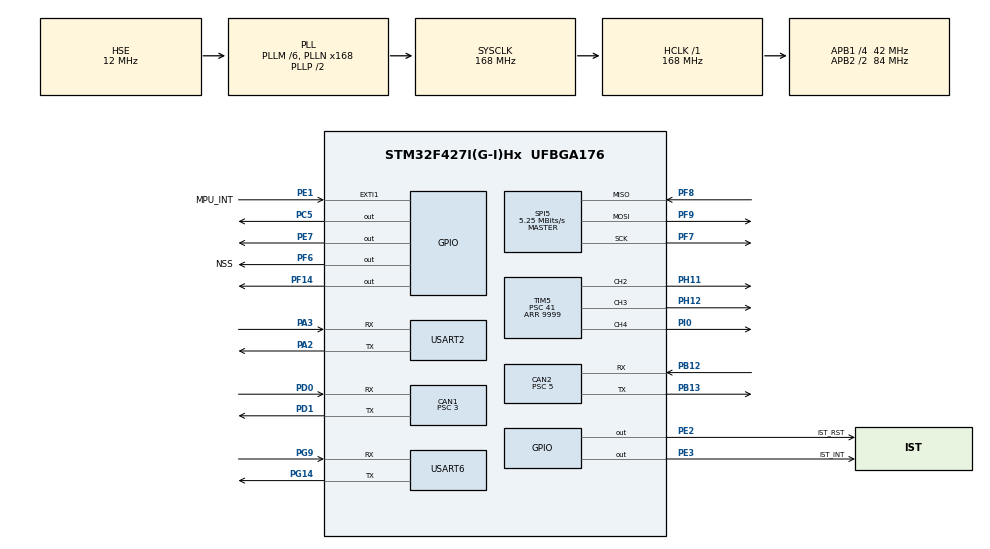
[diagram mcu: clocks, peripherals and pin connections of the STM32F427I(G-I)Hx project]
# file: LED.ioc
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CAN1.ABOM=ENABLE
CAN1.BS1=CAN_BS1_9TQ
CAN1.BS2=CAN_BS2_4TQ
CAN1.CalculateTimeBit=1000
CAN1.CalculateTimeQuantum=71.42857142857143
CAN1.Prescaler=3
CAN2.ABOM=ENABLE
CAN2.BS1=CAN_BS1_3TQ
CAN2.BS2=CAN_BS2_5TQ
CAN2.CalculateTimeBit=1071
CAN2.CalculateTimeQuantum=119.04761904761905
CAN2.Prescaler=5
CAN2.SJW=CAN_SJW_4TQ
Dma.Request0=USART2_RX
Dma.Request1=USART2_TX
Dma.Request2=USART6_RX
Dma.Request3=USART6_TX
Dma.USART2_RX.0.Direction=DMA_PERIPH_TO_MEMORY
Dma.USART2_RX.0.FIFOMode=DMA_FIFOMODE_DISABLE
Dma.USART2_RX.0.Instance=DMA1_Stream5
Dma.USART2_RX.0.MemDataAlignment=DMA_MDATAALIGN_BYTE
Dma.USART2_RX.0.MemInc=DMA_MINC_ENABLE
Dma.USART2_RX.0.Mode=DMA_NORMAL
Dma.USART2_RX.0.PeriphDataAlignment=DMA_PDATAALIGN_BYTE
Dma.USART2_RX.0.PeriphInc=DMA_PINC_DISABLE
Dma.USART2_RX.0.Priority=DMA_PRIORITY_LOW
Dma.USART2_TX.1.Direction=DMA_MEMORY_TO_PERIPH
Dma.USART2_TX.1.FIFOMode=DMA_FIFOMODE_DISABLE
Dma.USART2_TX.1.Instance=DMA1_Stream6
Dma.USART2_TX.1.MemDataAlignment=DMA_MDATAALIGN_BYTE
Dma.USART2_TX.1.MemInc=DMA_MINC_ENABLE
Dma.USART2_TX.1.Mode=DMA_NORMAL
Dma.USART2_TX.1.PeriphDataAlignment=DMA_PDATAALIGN_BYTE
Dma.USART2_TX.1.PeriphInc=DMA_PINC_DISABLE
Dma.USART2_TX.1.Priority=DMA_PRIORITY_LOW
Dma.USART6_RX.2.Direction=DMA_PERIPH_TO_MEMORY
Dma.USART6_RX.2.FIFOMode=DMA_FIFOMODE_DISABLE
Dma.USART6_RX.2.Instance=DMA2_Stream1
Dma.USART6_RX.2.MemDataAlignment=DMA_MDATAALIGN_BYTE
Dma.USART6_RX.2.MemInc=DMA_MINC_ENABLE
Dma.USART6_RX.2.Mode=DMA_NORMAL
Dma.USART6_RX.2.PeriphDataAlignment=DMA_PDATAALIGN_BYTE
Dma.USART6_RX.2.PeriphInc=DMA_PINC_DISABLE
Dma.USART6_RX.2.Priority=DMA_PRIORITY_HIGH
Dma.USART6_TX.3.Direction=DMA_MEMORY_TO_PERIPH
Dma.USART6_TX.3.FIFOMode=DMA_FIFOMODE_DISABLE
Dma.USART6_TX.3.Instance=DMA2_Stream6
Dma.USART6_TX.3.MemDataAlignment=DMA_MDATAALIGN_BYTE
Dma.USART6_TX.3.MemInc=DMA_MINC_ENABLE
Dma.USART6_TX.3.Mode=DMA_NORMAL
Dma.USART6_TX.3.PeriphDataAlignment=DMA_PDATAALIGN_BYTE
Dma.USART6_TX.3.PeriphInc=DMA_PINC_DISABLE
Dma.USART6_TX.3.Priority=DMA_PRIORITY_MEDIUM
FREERTOS.Tasks01=LED0,0,128,Func_LED0,Default,NULL,Dynamic,NULL,NULL;update,0,128,updatefun,Default,NULL,Dynamic,NULL,NULL;myTask03,2,128,StartDefaultTask,Default,NULL,Dynamic,NULL,NULL;PrintName,1,128,PrintFunc,Default,NULL,Dynamic,NULL,NULL;WG,2,128,WGFun,Default,NULL,Dynamic,NULL,NULL;IMU,-3,128,IMUFun,Default,NULL,Dynamic,NULL,NULL;Shooting,-3,128,Shootingfun,Default,NULL,Dynamic,NULL,NULL
FREERTOS.configUSE_STATS_FORMATTING_FUNCTIONS=1
FREERTOS.configUSE_TRACE_FACILITY=1
Mcu.Family=STM32F4
Mcu.Name=STM32F427I(G-I)Hx
Mcu.Package=UFBGA176
NVIC.CAN1_RX0_IRQn=true\:7\:0\:true\:false\:true\:true\:true
NVIC.CAN1_TX_IRQn=true\:8\:0\:true\:false\:true\:true\:true
NVIC.CAN2_RX0_IRQn=true\:8\:0\:true\:false\:true\:true\:true
NVIC.CAN2_TX_IRQn=true\:9\:0\:true\:false\:true\:true\:true
NVIC.DMA1_Stream5_IRQn=true\:5\:0\:false\:false\:true\:true\:false
NVIC.DMA1_Stream6_IRQn=true\:5\:0\:false\:false\:true\:true\:false
NVIC.DMA2_Stream1_IRQn=true\:5\:0\:false\:false\:true\:true\:false
NVIC.DMA2_Stream6_IRQn=true\:10\:0\:true\:false\:true\:true\:false
NVIC.PVD_IRQn=true\:10\:0\:true\:false\:true\:true\:true
NVIC.PriorityGroup=NVIC_PRIORITYGROUP_4
NVIC.TIM3_IRQn=true\:6\:0\:true\:false\:true\:true\:true
NVIC.TIM4_IRQn=true\:0\:0\:false\:false\:true\:false\:false
NVIC.TimeBase=TIM4_IRQn
NVIC.TimeBaseIP=TIM4
NVIC.WWDG_IRQn=true\:5\:0\:false\:false\:true\:true\:true
PA2.Mode=Asynchronous
PA2.Signal=USART2_TX
PA3.Mode=Asynchronous
PA3.Signal=USART2_RX
PB12.Mode=Slave
PB12.Signal=CAN2_RX
PB13.Mode=Slave
PB13.Signal=CAN2_TX
PC5.Signal=GPIO_Output
PD0.Mode=Master
PD0.Signal=CAN1_RX
PD1.Mode=Master
PD1.Signal=CAN1_TX
PE1.GPIO_Label=MPU_INT
PE1.Signal=GPXTI1
PE2.GPIO_Label=IST_RST
PE2.Signal=GPIO_Output
PE3.GPIO_Label=IST_INT
PE3.Signal=GPIO_Output
PE7.Signal=GPIO_Output
PF14.Signal=GPIO_Output
PF6.GPIO_Label=NSS
PF6.Signal=GPIO_Output
PF7.Mode=Full_Duplex_Master
PF7.Signal=SPI5_SCK
PF8.Mode=Full_Duplex_Master
PF8.Signal=SPI5_MISO
PF9.Mode=Full_Duplex_Master
PF9.Signal=SPI5_MOSI
PG14.Mode=Asynchronous
PG14.Signal=USART6_TX
PG9.Mode=Asynchronous
PG9.Signal=USART6_RX
PH0/OSC_IN.Mode=HSE-External-Oscillator
PH0/OSC_IN.Signal=RCC_OSC_IN
PH1/OSC_OUT.Mode=HSE-External-Oscillator
PH1/OSC_OUT.Signal=RCC_OSC_OUT
PH11.Signal=S_TIM5_CH2
PH12.Signal=S_TIM5_CH3
PI0.Signal=S_TIM5_CH4
ProjectManager.HeapSize=0x200
ProjectManager.StackSize=0x400
ProjectManager.TargetToolchain=MDK-ARM V5
RCC.48MHZClocksFreq_Value=48000000
RCC.AHBFreq_Value=168000000
RCC.APB1CLKDivider=RCC_HCLK_DIV4
RCC.APB1Freq_Value=42000000
RCC.APB1TimFreq_Value=84000000
RCC.APB2CLKDivider=RCC_HCLK_DIV2
RCC.APB2Freq_Value=84000000
RCC.APB2TimFreq_Value=168000000
RCC.CortexFreq_Value=168000000
RCC.HCLKFreq_Value=168000000
RCC.HSE_VALUE=12000000
RCC.HSI_VALUE=16000000
RCC.LSE_VALUE=32768
RCC.PLLM=6
RCC.PLLN=168
RCC.PLLQ=7
RCC.PLLSourceVirtual=RCC_PLLSOURCE_HSE
RCC.SYSCLKFreq_VALUE=168000000
RCC.SYSCLKSource=RCC_SYSCLKSOURCE_PLLCLK
RCC.VCOOutputFreq_Value=336000000
SH.S_TIM5_CH2.0=TIM5_CH2,PWM Generation2 CH2
SH.S_TIM5_CH3.0=TIM5_CH3,PWM Generation3 CH3
SH.S_TIM5_CH4.0=TIM5_CH4,PWM Generation4 CH4
SPI5.BaudRatePrescaler=SPI_BAUDRATEPRESCALER_16
SPI5.CalculateBaudRate=5.25 MBits/s
SPI5.Direction=SPI_DIRECTION_2LINES
SPI5.Mode=SPI_MODE_MASTER
SPI5.VirtualType=VM_MASTER
TIM3.Period=42000
TIM5.Channel-PWM\ Generation2\ CH2=TIM_CHANNEL_2
TIM5.Channel-PWM\ Generation3\ CH3=TIM_CHANNEL_3
TIM5.Channel-PWM\ Generation4\ CH4=TIM_CHANNEL_4
TIM5.Period=9999
TIM5.Prescaler=41
USART2.VirtualMode=VM_ASYNC
USART6.VirtualMode=VM_ASYNC
VP_CRC_VS_CRC.Mode=CRC_Activate
VP_FREERTOS_VS_ENABLE.Mode=Enabled
VP_SYS_VS_tim4.Mode=TIM4
VP_TIM3_VS_ClockSourceINT.Mode=Internal
VP_TIM5_VS_ClockSourceINT.Mode=Internal
VP_WWDG_VS_WWDG.Mode=WWDG_Activate
WWDG.Counter=127
WWDG.EWIMode=WWDG_EWI_ENABLE
WWDG.Prescaler=WWDG_PRESCALER_8
WWDG.Window=80
board=LED

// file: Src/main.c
/**
  ******************************************************************************
  * File Name          : main.c
  * Description        : Main program body
  ******************************************************************************
  * This notice applies to any and all portions of this file
  * that are not between comment pairs USER CODE BEGIN and
  * USER CODE END. Other portions of this file, whether
  * inserted by the user or by software development tools
  * are owned by their respective copyright owners.
  *
  * Copyright (c) 2018 STMicroelectronics International N.V.
  * All rights reserved.
  *
  * Redistribution and use in source and binary forms, with or without
  * modification, are permitted, provided that the following conditions are met:
  *
  * 1. Redistribution of source code must retain the above copyright notice,
  *    this list of conditions and the following disclaimer.
  * 2. Redistributions in binary form must reproduce the above copyright notice,
  *    this list of conditions and the following disclaimer in the documentation
  *    and/or other materials provided with the distribution.
  * 3. Neither the name of STMicroelectronics nor the names of other
  *    contributors to this software may be used to endorse or promote products
  *    derived from this software without specific written permission.
  * 4. This software, including modifications and/or derivative works of this
  *    software, must execute solely and exclusively on microcontroller or
  *    microprocessor devices manufactured by or for STMicroelectronics.
  * 5. Redistribution and use of this software other than as permitted under
  *    this license is void and will automatically terminate your rights under
  *    this license.
  *
  * THIS SOFTWARE IS PROVIDED BY STMICROELECTRONICS AND CONTRIBUTORS "AS IS"
  * AND ANY EXPRESS, IMPLIED OR STATUTORY WARRANTIES, INCLUDING, BUT NOT
  * LIMITED TO, THE IMPLIED WARRANTIES OF MERCHANTABILITY, FITNESS FOR A
  * PARTICULAR PURPOSE AND NON-INFRINGEMENT OF THIRD PARTY INTELLECTUAL PROPERTY
  * RIGHTS ARE DISCLAIMED TO THE FULLEST EXTENT PERMITTED BY LAW. IN NO EVENT
  * SHALL STMICROELECTRONICS OR CONTRIBUTORS BE LIABLE FOR ANY DIRECT, INDIRECT,
  * INCIDENTAL, SPECIAL, EXEMPLARY, OR CONSEQUENTIAL DAMAGES (INCLUDING, BUT NOT
  * LIMITED TO, PROCUREMENT OF SUBSTITUTE GOODS OR SERVICES; LOSS OF USE, DATA,
  * OR PROFITS; OR BUSINESS INTERRUPTION) HOWEVER CAUSED AND ON ANY THEORY OF
  * LIABILITY, WHETHER IN CONTRACT, STRICT LIABILITY, OR TORT (INCLUDING
  * NEGLIGENCE OR OTHERWISE) ARISING IN ANY WAY OUT OF THE USE OF THIS SOFTWARE,
  * EVEN IF ADVISED OF THE POSSIBILITY OF SUCH DAMAGE.
  *
  ******************************************************************************
  */

#include "main.h"
#include "stm32f4xx_hal.h"
#include "cmsis_os.h"

/* USER CODE BEGIN Includes */
#include "bsp_can.h"
#include "pid.h"
#include "usart.h"
#include "test_imu.h"
#include "mpu6500_reg.h"
/* USER CODE END Includes */

CAN_HandleTypeDef hcan1;
CAN_HandleTypeDef hcan2;

CRC_HandleTypeDef hcrc;

SPI_HandleTypeDef hspi5;

TIM_HandleTypeDef htim3;
TIM_HandleTypeDef htim5;

UART_HandleTypeDef huart2;
UART_HandleTypeDef huart6;
DMA_HandleTypeDef hdma_usart2_rx;
DMA_HandleTypeDef hdma_usart2_tx;
DMA_HandleTypeDef hdma_usart6_rx;
DMA_HandleTypeDef hdma_usart6_tx;

WWDG_HandleTypeDef hwwdg;

osThreadId LED0Handle;
osThreadId updateHandle;
osThreadId myTask03Handle;
osThreadId PrintNameHandle;
osThreadId WGHandle;
osThreadId IMUHandle;
osThreadId ShootingHandle;

/* USER CODE BEGIN PV */
/* Private variables ---------------------------------------------------------*/
#define setbit(x,y) x|=(1<<y) //将X的第Y位置1
#define clrbit(x,y) x&=~(1<<y) //将X的第Y位清0
//PID_TypeDef motor_pid[4];
PID_TypeDef could_pid;
PID_TypeDef moto_pid;
uint8_t state_flag=0;
int speed_step_sign = +1;
char InfoBuffer[1000];
uint16_t TIM_COUNT[2];

#define SpeedStep 500
/* USER CODE END PV */

void SystemClock_Config(void);
static void MX_GPIO_Init(void);
static void MX_DMA_Init(void);
static void MX_CAN1_Init(void);
static void MX_CAN2_Init(void);
static void MX_USART2_UART_Init(void);
static void MX_CRC_Init(void);
static void MX_TIM5_Init(void);
static void MX_USART6_UART_Init(void);
static void MX_SPI5_Init(void);
static void MX_TIM3_Init(void);
static void MX_WWDG_Init(void);
void uartTask(void const * argument);
void updatefun(void const * argument);
void yawTask(void const * argument);
void PrintFunc(void const * argument);
void WGFun(void const * argument);
void IMUFun(void const * argument);
void pitchTask(void const * argument);

void HAL_TIM_MspPostInit(TIM_HandleTypeDef *htim);

/* USER CODE BEGIN PFP */
/* Private function prototypes -----------------------------------------------*/
uint32_t map(uint32_t val, uint32_t I_Min, uint32_t I_Max, uint32_t O_Min, uint32_t O_Max){
    return(val/(I_Max-I_Min)*(O_Max-O_Min) + O_Min);
}
/* USER CODE END PFP */

/* USER CODE BEGIN 0 */

void HAL_PWR_PVDCallback(void)
{

}
/* USER CODE END 0 */

int main(void)
{

  /* USER CODE BEGIN 1 */
/*这代码有很多需要改的地方，不如云台yaw轴控制在偏移小角度的时候一卡一卡的，或许可以通过调PID来改善。舵机的控制也不是很好，不都到时候这个是要换成6623的*/

  /* USER CODE END 1 */

  /* MCU Configuration----------------------------------------------------------*/

  /* Reset of all peripherals, Initializes the Flash interface and the Systick. */
  HAL_Init();

  /* Configure the system clock */
  SystemClock_Config();

  /* Initialize all configured peripherals */
  MX_GPIO_Init();
  MX_DMA_Init();
  MX_CAN1_Init();
  MX_CAN2_Init();
  MX_USART2_UART_Init();
  MX_CRC_Init();
  MX_TIM5_Init();
  MX_USART6_UART_Init();
  MX_SPI5_Init();
  MX_TIM3_Init();
 // MX_WWDG_Init();

  /* USER CODE BEGIN 2 */
	//HAL_WWDG_Start_IT(&hwwdg);

	IMU_init();
	HAL_GPIO_WritePin(GPIOE, IST_RST_Pin, GPIO_PIN_SET);
	MPU6500_Init();
	IST8310_Init();
	Init_Quaternion();
	HAL_TIM_Base_Start_IT(&htim5);
	HAL_TIM_Base_Start_IT(&htim3);
	HAL_TIM_PWM_Start(&htim5,TIM_CHANNEL_4);
	HAL_TIM_PWM_Start(&htim5,TIM_CHANNEL_3);
	HAL_TIM_PWM_Start(&htim5,TIM_CHANNEL_2);

	HAL_Delay(1000);
	__HAL_TIM_SetCompare(&htim5,TIM_CHANNEL_2,0x3C*9999/255);
	HAL_Delay(3000);
	__HAL_TIM_SetCompare(&htim5,TIM_CHANNEL_3,0x3C*9999/255);
	HAL_Delay(3000);

	my_can_filter_init_recv_all(&hcan1);     //配置CAN过滤器
  HAL_CAN_Receive_IT(&hcan1, CAN_FIFO0);   //启动CAN接收中断

  pid_init(&moto_pid);
  moto_pid.f_param_init(&moto_pid,PID_Speed,16384,5000,10,0,8000,0,1.5f,0.1f,0);

	pid_init(&could_pid);
  could_pid.f_param_init(&could_pid,PID_Position,5000,5000,10,1,5000,3500, 0.2f,0.0f,1.2f);
  //__HAL_UART_ENABLE_IT(&huart2, UART_IT_IDLE);
	//HAL_WWDG_Start_IT(&hwwdg);
	//MX_WWDG_Init();
  /* USER CODE END 2 */

  /* Create the thread(s) */
  /* definition and creation of LED0 */
  osThreadDef(LED0, uartTask, osPriorityNormal, 0, 128);
  LED0Handle = osThreadCreate(osThread(LED0), NULL);

  /* definition and creation of update */
  osThreadDef(update, updatefun, osPriorityNormal, 0, 128);
  updateHandle = osThreadCreate(osThread(update), NULL);

  /* definition and creation of myTask03 */
  osThreadDef(myTask03, yawTask, osPriorityHigh, 0, 128);
  myTask03Handle = osThreadCreate(osThread(myTask03), NULL);

  /* definition and creation of PrintName */
  osThreadDef(PrintName, PrintFunc, osPriorityAboveNormal, 0, 128);
  PrintNameHandle = osThreadCreate(osThread(PrintName), NULL);

  /* definition and creation of WG */
  osThreadDef(WG, WGFun, osPriorityHigh, 0, 128);
  WGHandle = osThreadCreate(osThread(WG), NULL);

  /* definition and creation of IMU */
  osThreadDef(IMU, IMUFun, osPriorityIdle, 0, 128);
  IMUHandle = osThreadCreate(osThread(IMU), NULL);

  /* definition and creation of Shooting */
  osThreadDef(Shooting, pitchTask, osPriorityIdle, 0, 128);
  ShootingHandle = osThreadCreate(osThread(Shooting), NULL);

  /* USER CODE BEGIN RTOS_QUEUES */
  /* add queues, ... */
	//  MX_WWDG_Init();
  /* USER CODE END RTOS_QUEUES */

  /* Start scheduler */
  osKernelStart();
	could_pid.target = 3500;
  /* We should never get here as control is now taken by the scheduler */

  /* Infinite loop */
  while (1)
  {

  }

}

/** System Clock Configuration
*/
void SystemClock_Config(void)
{

  RCC_OscInitTypeDef RCC_OscInitStruct;
  RCC_ClkInitTypeDef RCC_ClkInitStruct;

    /**Configure the main internal regulator output voltage
    */
  __HAL_RCC_PWR_CLK_ENABLE();

  __HAL_PWR_VOLTAGESCALING_CONFIG(PWR_REGULATOR_VOLTAGE_SCALE1);

    /**Initializes the CPU, AHB and APB busses clocks
    */
  RCC_OscInitStruct.OscillatorType = RCC_OSCILLATORTYPE_HSE;
  RCC_OscInitStruct.HSEState = RCC_HSE_ON;
  RCC_OscInitStruct.PLL.PLLState = RCC_PLL_ON;
  RCC_OscInitStruct.PLL.PLLSource = RCC_PLLSOURCE_HSE;
  RCC_OscInitStruct.PLL.PLLM = 6;
  RCC_OscInitStruct.PLL.PLLN = 168;
  RCC_OscInitStruct.PLL.PLLP = RCC_PLLP_DIV2;
  RCC_OscInitStruct.PLL.PLLQ = 7;
  if (HAL_RCC_OscConfig(&RCC_OscInitStruct) != HAL_OK)
  {
    _Error_Handler(__FILE__, __LINE__);
  }

    /**Initializes the CPU, AHB and APB busses clocks
    */
  RCC_ClkInitStruct.ClockType = RCC_CLOCKTYPE_HCLK|RCC_CLOCKTYPE_SYSCLK
                              |RCC_CLOCKTYPE_PCLK1|RCC_CLOCKTYPE_PCLK2;
  RCC_ClkInitStruct.SYSCLKSource = RCC_SYSCLKSOURCE_PLLCLK;
  RCC_ClkInitStruct.AHBCLKDivider = RCC_SYSCLK_DIV1;
  RCC_ClkInitStruct.APB1CLKDivider = RCC_HCLK_DIV4;
  RCC_ClkInitStruct.APB2CLKDivider = RCC_HCLK_DIV2;

  if (HAL_RCC_ClockConfig(&RCC_ClkInitStruct, FLASH_LATENCY_5) != HAL_OK)
  {
    _Error_Handler(__FILE__, __LINE__);
  }

    /**Configure the Systick interrupt time
    */
  HAL_SYSTICK_Config(HAL_RCC_GetHCLKFreq()/1000);

    /**Configure the Systick
    */
  HAL_SYSTICK_CLKSourceConfig(SYSTICK_CLKSOURCE_HCLK);

  /* SysTick_IRQn interrupt configuration */
  HAL_NVIC_SetPriority(SysTick_IRQn, 15, 0);
}

/* CAN1 init function */
static void MX_CAN1_Init(void)
{

  hcan1.Instance = CAN1;
  hcan1.Init.Prescaler = 3;
  hcan1.Init.Mode = CAN_MODE_NORMAL;
  hcan1.Init.SJW = CAN_SJW_1TQ;
  hcan1.Init.BS1 = CAN_BS1_9TQ;
  hcan1.Init.BS2 = CAN_BS2_4TQ;
  hcan1.Init.TTCM = DISABLE;
  hcan1.Init.ABOM = ENABLE;
  hcan1.Init.AWUM = DISABLE;
  hcan1.Init.NART = DISABLE;
  hcan1.Init.RFLM = DISABLE;
  hcan1.Init.TXFP = DISABLE;
  if (HAL_CAN_Init(&hcan1) != HAL_OK)
  {
    _Error_Handler(__FILE__, __LINE__);
  }

}

/* CAN2 init function */
static void MX_CAN2_Init(void)
{

  hcan2.Instance = CAN2;
  hcan2.Init.Prescaler = 5;
  hcan2.Init.Mode = CAN_MODE_NORMAL;
  hcan2.Init.SJW = CAN_SJW_4TQ;
  hcan2.Init.BS1 = CAN_BS1_3TQ;
  hcan2.Init.BS2 = CAN_BS2_5TQ;
  hcan2.Init.TTCM = DISABLE;
  hcan2.Init.ABOM = ENABLE;
  hcan2.Init.AWUM = DISABLE;
  hcan2.Init.NART = DISABLE;
  hcan2.Init.RFLM = DISABLE;
  hcan2.Init.TXFP = DISABLE;
  if (HAL_CAN_Init(&hcan2) != HAL_OK)
  {
    _Error_Handler(__FILE__, __LINE__);
  }

}

/* CRC init function */
static void MX_CRC_Init(void)
{

  hcrc.Instance = CRC;
  if (HAL_CRC_Init(&hcrc) != HAL_OK)
  {
    _Error_Handler(__FILE__, __LINE__);
  }

}

/* SPI5 init function */
static void MX_SPI5_Init(void)
{

  /* SPI5 parameter configuration*/
  hspi5.Instance = SPI5;
  hspi5.Init.Mode = SPI_MODE_MASTER;
  hspi5.Init.Direction = SPI_DIRECTION_2LINES;
  hspi5.Init.DataSize = SPI_DATASIZE_8BIT;
  hspi5.Init.CLKPolarity = SPI_POLARITY_LOW;
  hspi5.Init.CLKPhase = SPI_PHASE_1EDGE;
  hspi5.Init.NSS = SPI_NSS_SOFT;
  hspi5.Init.BaudRatePrescaler = SPI_BAUDRATEPRESCALER_16;
  hspi5.Init.FirstBit = SPI_FIRSTBIT_MSB;
  hspi5.Init.TIMode = SPI_TIMODE_DISABLE;
  hspi5.Init.CRCCalculation = SPI_CRCCALCULATION_DISABLE;
  hspi5.Init.CRCPolynomial = 10;
  if (HAL_SPI_Init(&hspi5) != HAL_OK)
  {
    _Error_Handler(__FILE__, __LINE__);
  }

}

/* TIM3 init function */
static void MX_TIM3_Init(void)
{

  TIM_ClockConfigTypeDef sClockSourceConfig;
  TIM_MasterConfigTypeDef sMasterConfig;

  htim3.Instance = TIM3;
  htim3.Init.Prescaler = 0;
  htim3.Init.CounterMode = TIM_COUNTERMODE_UP;
  htim3.Init.Period = 42000;
  htim3.Init.ClockDivision = TIM_CLOCKDIVISION_DIV1;
  if (HAL_TIM_Base_Init(&htim3) != HAL_OK)
  {
    _Error_Handler(__FILE__, __LINE__);
  }

  sClockSourceConfig.ClockSource = TIM_CLOCKSOURCE_INTERNAL;
  if (HAL_TIM_ConfigClockSource(&htim3, &sClockSourceConfig) != HAL_OK)
  {
    _Error_Handler(__FILE__, __LINE__);
  }

  sMasterConfig.MasterOutputTrigger = TIM_TRGO_RESET;
  sMasterConfig.MasterSlaveMode = TIM_MASTERSLAVEMODE_DISABLE;
  if (HAL_TIMEx_MasterConfigSynchronization(&htim3, &sMasterConfig) != HAL_OK)
  {
    _Error_Handler(__FILE__, __LINE__);
  }

}

/* TIM5 init function */
static void MX_TIM5_Init(void)
{

  TIM_ClockConfigTypeDef sClockSourceConfig;
  TIM_MasterConfigTypeDef sMasterConfig;
  TIM_OC_InitTypeDef sConfigOC;

  htim5.Instance = TIM5;
  htim5.Init.Prescaler = 41;
  htim5.Init.CounterMode = TIM_COUNTERMODE_UP;
  htim5.Init.Period = 9999;
  htim5.Init.ClockDivision = TIM_CLOCKDIVISION_DIV1;
  if (HAL_TIM_Base_Init(&htim5) != HAL_OK)
  {
    _Error_Handler(__FILE__, __LINE__);
  }

  sClockSourceConfig.ClockSource = TIM_CLOCKSOURCE_INTERNAL;
  if (HAL_TIM_ConfigClockSource(&htim5, &sClockSourceConfig) != HAL_OK)
  {
    _Error_Handler(__FILE__, __LINE__);
  }

  if (HAL_TIM_PWM_Init(&htim5) != HAL_OK)
  {
    _Error_Handler(__FILE__, __LINE__);
  }

  sMasterConfig.MasterOutputTrigger = TIM_TRGO_RESET;
  sMasterConfig.MasterSlaveMode = TIM_MASTERSLAVEMODE_DISABLE;
  if (HAL_TIMEx_MasterConfigSynchronization(&htim5, &sMasterConfig) != HAL_OK)
  {
    _Error_Handler(__FILE__, __LINE__);
  }

  sConfigOC.OCMode = TIM_OCMODE_PWM1;
  sConfigOC.Pulse = 0;
  sConfigOC.OCPolarity = TIM_OCPOLARITY_HIGH;
  sConfigOC.OCFastMode = TIM_OCFAST_DISABLE;
  if (HAL_TIM_PWM_ConfigChannel(&htim5, &sConfigOC, TIM_CHANNEL_2) != HAL_OK)
  {
    _Error_Handler(__FILE__, __LINE__);
  }

  if (HAL_TIM_PWM_ConfigChannel(&htim5, &sConfigOC, TIM_CHANNEL_3) != HAL_OK)
  {
    _Error_Handler(__FILE__, __LINE__);
  }

  if (HAL_TIM_PWM_ConfigChannel(&htim5, &sConfigOC, TIM_CHANNEL_4) != HAL_OK)
  {
    _Error_Handler(__FILE__, __LINE__);
  }

  HAL_TIM_MspPostInit(&htim5);

}

/* USART2 init function */
static void MX_USART2_UART_Init(void)
{

  huart2.Instance = USART2;
  huart2.Init.BaudRate = 115200;
  huart2.Init.WordLength = UART_WORDLENGTH_8B;
  huart2.Init.StopBits = UART_STOPBITS_1;
  huart2.Init.Parity = UART_PARITY_NONE;
  huart2.Init.Mode = UART_MODE_TX_RX;
  huart2.Init.HwFlowCtl = UART_HWCONTROL_NONE;
  huart2.Init.OverSampling = UART_OVERSAMPLING_16;
  if (HAL_UART_Init(&huart2) != HAL_OK)
  {
    _Error_Handler(__FILE__, __LINE__);
  }

}

/* USART6 init function */
static void MX_USART6_UART_Init(void)
{

  huart6.Instance = USART6;
  huart6.Init.BaudRate = 115200;
  huart6.Init.WordLength = UART_WORDLENGTH_8B;
  huart6.Init.StopBits = UART_STOPBITS_1;
  huart6.Init.Parity = UART_PARITY_NONE;
  huart6.Init.Mode = UART_MODE_TX_RX;
  huart6.Init.HwFlowCtl = UART_HWCONTROL_NONE;
  huart6.Init.OverSampling = UART_OVERSAMPLING_16;
  if (HAL_UART_Init(&huart6) != HAL_OK)
  {
    _Error_Handler(__FILE__, __LINE__);
  }

}

/* WWDG init function */
static void MX_WWDG_Init(void)
{

  hwwdg.Instance = WWDG;
  hwwdg.Init.Prescaler = WWDG_PRESCALER_8;
  hwwdg.Init.Window = 80;
  hwwdg.Init.Counter = 127;
  hwwdg.Init.EWIMode = WWDG_EWI_ENABLE;
  if (HAL_WWDG_Init(&hwwdg) != HAL_OK)
  {
    _Error_Handler(__FILE__, __LINE__);
  }

}

static void MX_DMA_Init(void)
{
  /* DMA controller clock enable */
  __HAL_RCC_DMA1_CLK_ENABLE();
  __HAL_RCC_DMA2_CLK_ENABLE();

  /* DMA interrupt init */
  /* DMA1_Stream5_IRQn interrupt configuration */
  HAL_NVIC_SetPriority(DMA1_Stream5_IRQn, 5, 0);
  HAL_NVIC_EnableIRQ(DMA1_Stream5_IRQn);
  /* DMA1_Stream6_IRQn interrupt configuration */
  HAL_NVIC_SetPriority(DMA1_Stream6_IRQn, 5, 0);
  HAL_NVIC_EnableIRQ(DMA1_Stream6_IRQn);
  /* DMA2_Stream1_IRQn interrupt configuration */
  HAL_NVIC_SetPriority(DMA2_Stream1_IRQn, 5, 0);
  HAL_NVIC_EnableIRQ(DMA2_Stream1_IRQn);
  /* DMA2_Stream6_IRQn interrupt configuration */
  HAL_NVIC_SetPriority(DMA2_Stream6_IRQn, 10, 0);
  HAL_NVIC_EnableIRQ(DMA2_Stream6_IRQn);

}

/** Configure pins as
        * Analog
        * Input
        * Output
        * EVENT_OUT
        * EXTI
*/
static void MX_GPIO_Init(void)
{

  GPIO_InitTypeDef GPIO_InitStruct;

  /* GPIO Ports Clock Enable */
  __HAL_RCC_GPIOE_CLK_ENABLE();
  __HAL_RCC_GPIOG_CLK_ENABLE();
  __HAL_RCC_GPIOD_CLK_ENABLE();
  __HAL_RCC_GPIOI_CLK_ENABLE();
  __HAL_RCC_GPIOH_CLK_ENABLE();
  __HAL_RCC_GPIOF_CLK_ENABLE();
  __HAL_RCC_GPIOA_CLK_ENABLE();
  __HAL_RCC_GPIOC_CLK_ENABLE();
  __HAL_RCC_GPIOB_CLK_ENABLE();

  /*Configure GPIO pin Output Level */
  HAL_GPIO_WritePin(GPIOE, IST_INT_Pin|IST_RST_Pin|GPIO_PIN_7, GPIO_PIN_RESET);

  /*Configure GPIO pin Output Level */
  HAL_GPIO_WritePin(GPIOF, NSS_Pin|GPIO_PIN_14, GPIO_PIN_RESET);

  /*Configure GPIO pin Output Level */
  HAL_GPIO_WritePin(GPIOC, GPIO_PIN_5, GPIO_PIN_RESET);

  /*Configure GPIO pins : IST_INT_Pin IST_RST_Pin PE7 */
  GPIO_InitStruct.Pin = IST_INT_Pin|IST_RST_Pin|GPIO_PIN_7;
  GPIO_InitStruct.Mode = GPIO_MODE_OUTPUT_PP;
  GPIO_InitStruct.Pull = GPIO_NOPULL;
  GPIO_InitStruct.Speed = GPIO_SPEED_FREQ_LOW;
  HAL_GPIO_Init(GPIOE, &GPIO_InitStruct);

  /*Configure GPIO pin : MPU_INT_Pin */
  GPIO_InitStruct.Pin = MPU_INT_Pin;
  GPIO_InitStruct.Mode = GPIO_MODE_IT_RISING;
  GPIO_InitStruct.Pull = GPIO_NOPULL;
  HAL_GPIO_Init(MPU_INT_GPIO_Port, &GPIO_InitStruct);

  /*Configure GPIO pins : NSS_Pin PF14 */
  GPIO_InitStruct.Pin = NSS_Pin|GPIO_PIN_14;
  GPIO_InitStruct.Mode = GPIO_MODE_OUTPUT_PP;
  GPIO_InitStruct.Pull = GPIO_NOPULL;
  GPIO_InitStruct.Speed = GPIO_SPEED_FREQ_LOW;
  HAL_GPIO_Init(GPIOF, &GPIO_InitStruct);

  /*Configure GPIO pin : PC5 */
  GPIO_InitStruct.Pin = GPIO_PIN_5;
  GPIO_InitStruct.Mode = GPIO_MODE_OUTPUT_PP;
  GPIO_InitStruct.Pull = GPIO_NOPULL;
  GPIO_InitStruct.Speed = GPIO_SPEED_FREQ_LOW;
  HAL_GPIO_Init(GPIOC, &GPIO_InitStruct);

}

/* uartTask function */
void uartTask(void const * argument)
{

  /* USER CODE BEGIN 5 */
	tx_buffer[0] = 0x00;
  /* Infinite loop */
  for(;;)
  {
	//	vTaskList(InfoBuffer);

		//接收
		HAL_UART_Receive_DMA(&huart2,rx_buffer,RX_SIZE);

		//发送
		HAL_UART_Transmit_DMA(&huart2,tx_buffer,sizeof(tx_buffer));
		huart2.gState = HAL_UART_STATE_READY;

		HAL_GPIO_TogglePin(GPIOF, GPIO_PIN_14);

		osDelay(10);
  }
  /* USER CODE END 5 */
}

/* updatefun function */
void updatefun(void const * argument)
{

  /* USER CODE BEGIN updatefun */

  /* Infinite loop */
  for(;;)
  {

		if(rx_buffer[0]==0x00)
		{

			HAL_UART_Transmit_DMA(&huart6,rx_buffer,RX_SIZE);
			huart6.gState = HAL_UART_STATE_READY;

			/**********************，摩擦轮****************************/
			if(rx_buffer[4]==0x02)
			{
				__HAL_TIM_SetCompare(&htim5,TIM_CHANNEL_3,0x40*9999/255);
				__HAL_TIM_SetCompare(&htim5,TIM_CHANNEL_2,0x40*9999/255);
			}else if(rx_buffer[4]==0x01)
			{
				__HAL_TIM_SetCompare(&htim5,TIM_CHANNEL_2,0x3E*9999/255);
				__HAL_TIM_SetCompare(&htim5,TIM_CHANNEL_3,0x3E*9999/255);
			}else
			{
				__HAL_TIM_SetCompare(&htim5,TIM_CHANNEL_2,0x3C*9999/255);
				__HAL_TIM_SetCompare(&htim5,TIM_CHANNEL_3,0x3C*9999/255);
			}
			/***********************拨弹电机***************************/
			if(rx_buffer[1]==0x01)
			{
				 moto_pid.target = 2000;
			}
			else if(rx_buffer[1]==0x02)
			{
				 moto_pid.target = 4000;
			}
			else
			{
				 moto_pid.target = 0;
			}
			/************激光******************/
			if(rx_buffer[1]&0x01)
				HAL_GPIO_WritePin(GPIOC, GPIO_PIN_5, GPIO_PIN_SET);
			else
				HAL_GPIO_WritePin(GPIOC, GPIO_PIN_5, GPIO_PIN_RESET);
		}

		moto_pid.f_cal_pid(&moto_pid,moto_chassis[0].speed_rpm);    //根据设定值进行PID计算。
    set_moto_current(&hcan1,moto_pid.output,0,0,0);//将PID的计算结果通过CAN发送到电机

    osDelay(10);
  }
  /* USER CODE END updatefun */
}

/* pitchTask function */
void pitchTask(void const * argument)
{
  /* USER CODE BEGIN pitchTask */
	static float pitch = 3500;
	static int pitch_max = 3800;
	static int pitch_min = 3100;
	__HAL_TIM_SetCompare(&htim5,TIM_CHANNEL_4,pitch);
  /* Infinite loop */
  for(;;)
  {
		/*********************舵机****************************/
			if((rx_buffer[5]>0x7f)||(rx_buffer[5]<0x7f))
			{

				pitch -= ((rx_buffer[5]-0x7f))*0.3;
				if(pitch > pitch_max)
				{
					pitch = pitch_max;
				}
				if(pitch < pitch_min)
				{
					pitch = pitch_min;
				}
				__HAL_TIM_SetCompare(&htim5,TIM_CHANNEL_4,pitch);

			}
    osDelay(10);
  }
  /* USER CODE END pitchTask */
}

/* yawTask function */
void yawTask(void const * argument)
{
  /* USER CODE BEGIN yawTask */
  /* Infinite loop */
	static float update_yaw=3500;
	static int lx = 0;
	could_pid.target = update_yaw;

	for(;;)
	{
   		/********************云台电机******************************/
		tx_buffer[1] = 0x00;

			if((rx_buffer[6]>0x7f)||(rx_buffer[6]<0x7f))
			{
				lx = rx_buffer[6]-0x7f;

				if(lx > 2)
				{
					lx = 2;
				}
				if(lx < -2)
				{
					lx = -2;
				}

				update_yaw -= lx;

				if(update_yaw>=5000)
				{
					update_yaw=5000;
					tx_buffer[1] = 0x01;
				}

				if(update_yaw<=1000)
				{
					update_yaw=1000;
					tx_buffer[1] = 0x01;
				}

				could_pid.target = update_yaw;//+overflag*8191;

			}

    could_pid.f_cal_pid(&could_pid,overflag*8191+cloud[0].angle);
		set_could_current(&hcan1,0,0,could_pid.output,0);

    osDelay(1);      //PID控制频率1000HZ
  }
  /* USER CODE END yawTask */
}

/* PrintFunc function */
void PrintFunc(void const * argument)
{
  /* USER CODE BEGIN PrintFunc */
//	HAL_UART_Receive_DMA(&huart2,rx_buffer,RX_SIZE);
  /* Infinite loop */
  for(;;)
  {

		//	HAL_UART_Transmit_DMA(&huart2,rx_buffer,TX_SIZE);
		//	huart2.gState = HAL_UART_STATE_READY;
			//HAL_UART_Transmit_DMA(&huart2,rx_buffer,TX_SIZE);
			//huart2.gState = HAL_UART_STATE_READY;

		//printf("%x",rx_buffer[1]);
		//			huart6.gState = HAL_UART_STATE_READY;

		//printf(rx_buffer);
		//printf("imu_data.mx: %d  ",imu_data.mx);
	//	printf("imu_data.my: %d\n",imu_data.my);

		//printf("Y: %.1f			P: %.1f			R: %.1f\r\n",yaw_angle,pitch_angle,roll_angle);
			osDelay(100);
  }
  /* USER CODE END PrintFunc */
}

/* WGFun function */
void WGFun(void const * argument)
{
  /* USER CODE BEGIN WGFun */
  /* Infinite loop */
  for(;;)
  {
		/*****************************请在这里加入看门狗**************************************/
		osDelay(40);
//		HAL_WWDG_Refresh(&hwwdg);
  }
  /* USER CODE END WGFun */
}

/* IMUFun function */
void IMUFun(void const * argument)
{
  /* USER CODE BEGIN IMUFun */
  /* Infinite loop */
  for(;;)
  {
/*******************其实云台应该有一个专门的IMU以它的角度来控制云台而不是用机械角*************************/
		//IMU_getYawPitchRoll(angle);
    osDelay(10);
  }
  /* USER CODE END IMUFun */
}

void HAL_TIM_PeriodElapsedCallback(TIM_HandleTypeDef *htim)
{
  if (htim->Instance == TIM4)
	{
    HAL_IncTick();
  }
/* USER CODE BEGIN Callback 1 */

	if (htim->Instance == TIM3)
	{
		IMU_Get_Data();
	}

/* USER CODE END Callback 1 */
}

void _Error_Handler(char * file, int line)
{
  while(1)
  {
  }
}

/************************ (C) COPYRIGHT STMicroelectronics *****END OF FILE****/
